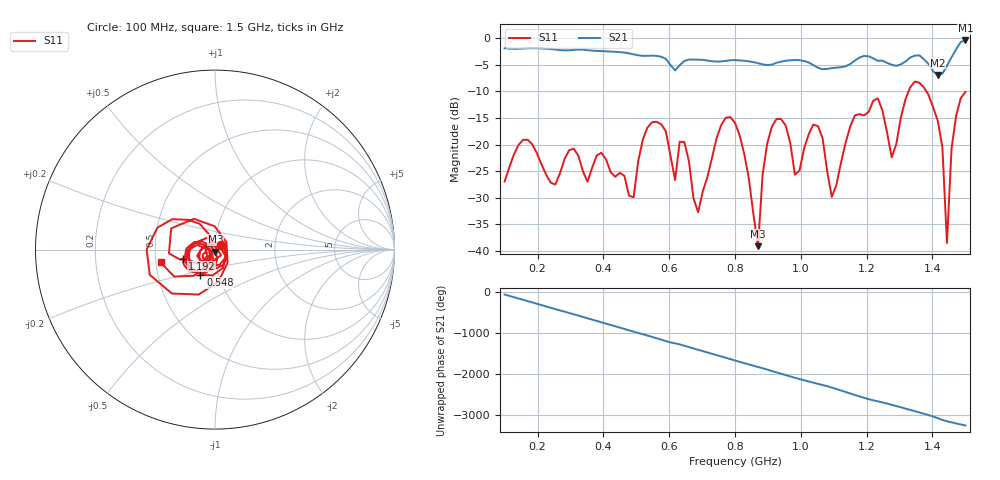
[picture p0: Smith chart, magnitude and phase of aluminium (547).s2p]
! NanoVNA-App
! Date: 2025-09-25 14:59:32
! Start: 100MHz Stop: 1,5GHz Points: 101
! S-Parameter data: F S11 S21 S12 S22
# Hz S RI R 50
!  Frequency  S11_Real  S11_Imag  S21_Real  S21_Imag  S12_Real  S12_Imag  S22_Real  S22_Imag
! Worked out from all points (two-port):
!   101 points, 100 MHz to 1.5 GHz, reference 50 ohm
!   highest |S21| = -0.46 dB at 1.5 GHz (marker M1); lowest = -6.9 dB at 1.416 GHz (marker M2)
!   |S21| within 3 dB of the highest: start of sweep to 570.9 MHz; 1.459 GHz to end of sweep (the widest 2 of 4)
!   lowest |S11| = -39.1 dB at 870 MHz (marker M3), VSWR 1.02, Z = 50.2 - j1.1 ohm
!   |S11| at or under -10 dB: start of sweep to 1.328 GHz; 1.381 GHz to end of sweep
!   S12 and S22 are empty: the file has one direction only
!   S11 on the Smith chart (normalised r, x): 100 MHz: 1.07, +0.06; 548 MHz: 0.82, -0.24; 1.192 GHz: 0.69, -0.07; 1.5 GHz: 0.53, -0.08
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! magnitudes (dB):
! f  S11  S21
! 100 MHz  -27.0  -1.9
! 156 MHz  -19.1  -2.0
! 338 MHz  -25.0  -2.2
! 492 MHz  -29.9  -3.1
! 548 MHz  -15.8  -3.3
! 576 MHz  -16.2  -3.5
! 646 MHz  -19.5  -4.3
! 688 MHz  -32.7  -4.1
! 800 MHz  -15.9  -4.1
! 870 MHz  -39.1  -4.7
! 912 MHz  -16.7  -5.0
! 982 MHz  -25.7  -4.1
! 1.038 GHz  -16.3  -5.1
! 1.094 GHz  -29.8  -5.6
! 1.192 GHz  -14.5  -3.4
! 1.234 GHz  -11.3  -4.3
! 1.276 GHz  -22.4  -5.0
! 1.346 GHz  -8.2  -3.3
! 1.416 GHz  -15.5  -6.9
! 1.444 GHz  -38.5  -5.2
! 1.458 GHz  -20.7  -3.6
! 1.5 GHz  -10.1  -0.5
